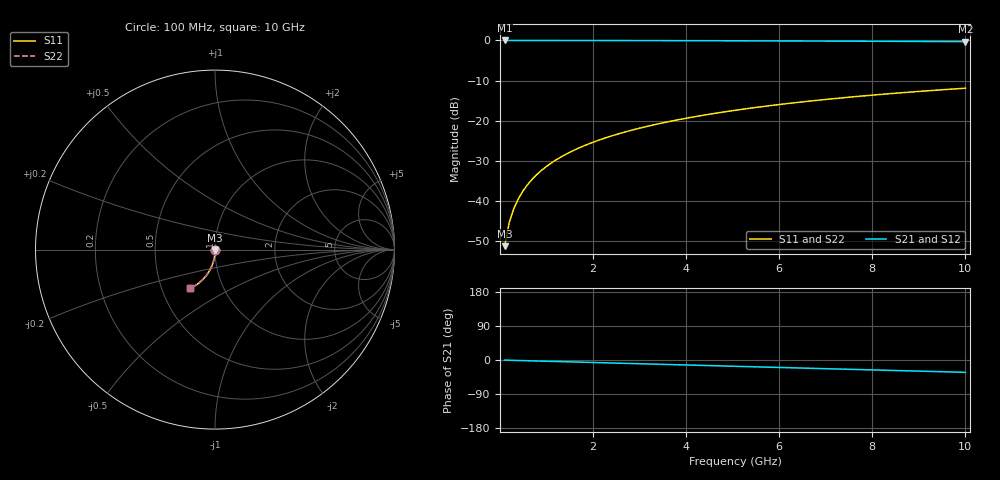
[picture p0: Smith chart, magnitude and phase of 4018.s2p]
# Hz S RI R 50.00
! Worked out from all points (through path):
!   100 points, 100 MHz to 10 GHz, reference 50 ohm
!   highest |S21| = 0.00 dB at 100 MHz (marker M1); lowest = -0.3 dB at 10 GHz (marker M2)
!   group delay of S21, straight-line fit = 9.05 ps
!   lowest |S11| = -51.2 dB at 100 MHz (marker M3), VSWR 1.01, Z = 50.1 - j0.272 ohm
!   |S11| at or under -10 dB: start of sweep to end of sweep
!   |S22| runs from -51.2 to -11.9 dB; largest |S21 - S12| = 0
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1e8  0.000515 -0.00271  0.9994 -0.00573  0.9994 -0.00573  0.000515 -0.00271
2e8  0.000468 -0.00543  0.9994 -0.0115  0.9994 -0.0115  0.000468 -0.00543
3e8  0.000388 -0.00814  0.9993 -0.0172  0.9993 -0.0172  0.000388 -0.00814
4e8  0.000278 -0.0109  0.9991 -0.0229  0.9991 -0.0229  0.000278 -0.0109
5e8  0.000136 -0.0136  0.9989 -0.0286  0.9989 -0.0286  0.000136 -0.0136
6e8  -3.78e-05 -0.0163  0.9987 -0.0344  0.9987 -0.0344  -3.78e-05 -0.0163
7e8  -0.000242 -0.019  0.9984 -0.0401  0.9984 -0.0401  -0.000242 -0.019
8e8  -0.000478 -0.0217  0.9981 -0.0458  0.9981 -0.0458  -0.000478 -0.0217
9e8  -0.000745 -0.0244  0.9978 -0.0515  0.9978 -0.0515  -0.000745 -0.0244
1.1e9  -0.00137 -0.0298  0.997 -0.063  0.997 -0.063  -0.00137 -0.0298
1.4e9  -0.00255 -0.0379  0.9954 -0.0801  0.9954 -0.0801  -0.00255 -0.0379
1.8e9  -0.00454 -0.0486  0.9929 -0.1029  0.9929 -0.1029  -0.00454 -0.0486
2.1e9  -0.00636 -0.0565  0.9905 -0.1199  0.9905 -0.1199  -0.00636 -0.0565
2.5e9  -0.00921 -0.067  0.9868 -0.1425  0.9868 -0.1425  -0.00921 -0.067
2.9e9  -0.0125 -0.0774  0.9825 -0.1649  0.9825 -0.1649  -0.0125 -0.0774
3.4e9  -0.0173 -0.0901  0.9762 -0.1928  0.9762 -0.1928  -0.0173 -0.0901
4.2e9  -0.0265 -0.1098  0.9642 -0.2368  0.9642 -0.2368  -0.0265 -0.1098
5.1e9  -0.0389 -0.1308  0.9479 -0.2852  0.9479 -0.2852  -0.0389 -0.1308
5.9e9  -0.0517 -0.1482  0.931 -0.327  0.931 -0.327  -0.0517 -0.1482
6.7e9  -0.0659 -0.1644  0.912 -0.3676  0.912 -0.3676  -0.0659 -0.1644
8.4e9  -0.1003 -0.1938  0.8653 -0.4492  0.8653 -0.4492  -0.1003 -0.1938
1e10  -0.1367 -0.2147  0.8144 -0.5195  0.8144 -0.5195  -0.1367 -0.2147
